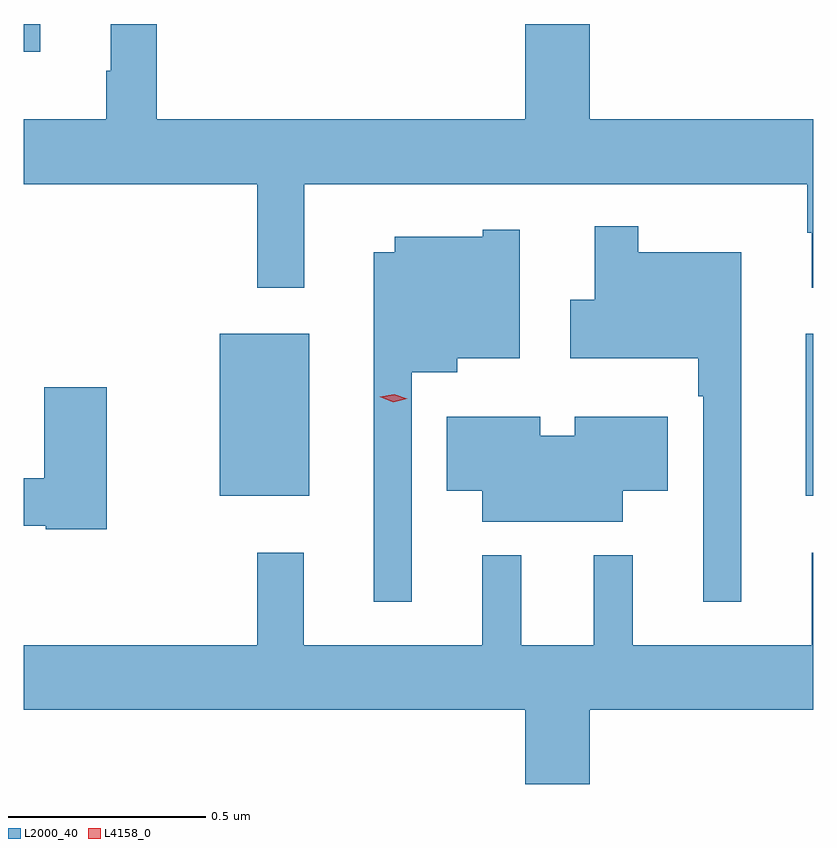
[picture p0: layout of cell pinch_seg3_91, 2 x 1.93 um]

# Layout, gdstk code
import gdstk
lib = gdstk.Library(unit=1e-6, precision=1e-09)
def R(c, l, rs):  # rectangles x0, y0, x1, y1
    for r in rs: c.add(gdstk.rectangle(r[:2], r[2:], *l))
def P(c, l, *ps):  # polygons
    for p in ps: c.add(gdstk.Polygon(p, *l))
L2000_40 = (2000, 40)
L4158_0 = (4158, 0)

pinch_seg3_91 = lib.new_cell('pinch_seg3_91')
R(pinch_seg3_91, L2000_40, [(1075.322,724.103,1075.549,724.513), (1076.807,724.103,1076.826,724.513), (1074.826,725.228,1074.868,725.298)])
P(pinch_seg3_91, L2000_40, [(1075.536,724.892),(1076.811,724.892),(1076.811,724.769),(1076.822,724.769),(1076.822,724.629),(1076.826,724.629),(1076.826,725.056),(1076.26,725.056),(1076.26,725.298),(1076.096,725.298),(1076.096,725.056),(1075.163,725.056),(1075.163,725.298),(1075.046,725.298),(1075.046,725.18),(1075.035,725.18),(1075.035,725.056),(1074.826,725.056),(1074.826,724.892),(1075.417,724.892),(1075.417,724.629),(1075.536,724.629)],
  [(1076.644,724.72),(1076.383,724.72),(1076.383,724.786),(1076.273,724.786),(1076.273,724.599),(1076.21,724.599),(1076.21,724.451),(1076.535,724.451),(1076.535,724.355),(1076.547,724.355),(1076.547,723.834),(1076.644,723.834)],
  [(1075.809,724.415),(1075.924,724.415),(1075.924,724.451),(1076.083,724.451),(1076.083,724.777),(1075.989,724.777),(1075.989,724.759),(1075.766,724.759),(1075.766,724.72),(1075.712,724.72),(1075.712,723.834),(1075.809,723.834)],
  [(1075.036,724.378),(1074.878,724.378),(1074.878,724.147),(1074.826,724.147),(1074.826,724.026),(1074.882,724.026),(1074.882,724.018),(1075.036,724.018)],
  [(1076.344,724.115),(1076.458,724.115),(1076.458,724.303),(1076.222,724.303),(1076.222,724.255),(1076.134,724.255),(1076.134,724.303),(1075.898,724.303),(1075.898,724.115),(1075.988,724.115),(1075.988,724.037),(1076.344,724.037)],
  [(1076.26,723.56),(1076.826,723.56),(1076.826,723.958),(1076.822,723.958),(1076.822,723.724),(1076.369,723.724),(1076.369,723.952),(1076.27,723.952),(1076.27,723.724),(1076.087,723.724),(1076.087,723.952),(1075.988,723.952),(1075.988,723.724),(1075.535,723.724),(1075.535,723.958),(1075.417,723.958),(1075.417,723.724),(1074.826,723.724),(1074.826,723.56),(1076.096,723.56),(1076.096,723.372),(1076.26,723.372)])
P(pinch_seg3_91, L4158_0, [(1075.762,724.34),(1075.728,724.353),(1075.727,724.353),(1075.728,724.353),(1075.764,724.36),(1075.798,724.348),(1075.798,724.348),(1075.798,724.348)])

lib.write_gds('pinch_seg3_91.gds')
